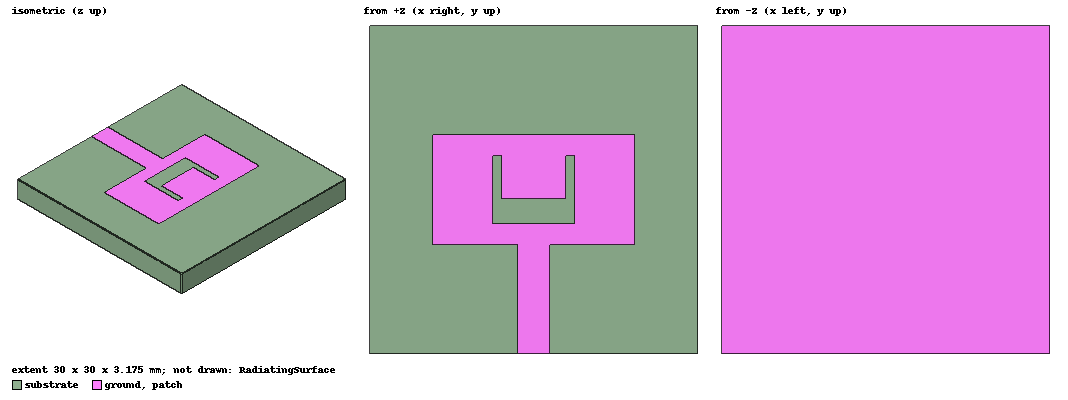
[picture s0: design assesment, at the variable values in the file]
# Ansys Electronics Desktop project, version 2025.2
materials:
  vacuum: permittivity=1
  Rogers RT/duroid 5870 (tm): permittivity=2.33 dielectric_loss_tangent=0.0012

design assesment (HFSS, HFSS Modal Network, model units mm)
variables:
  ws = 30mm
  ls = 30mm
  wp = 18.4mm
  lp = 10mm
  lf = 0.8mm
  wss = 7.45mm
  t = 0.8mm
  lss = 6.15mm
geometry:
  substrate [Rogers RT/duroid 5870 (tm)] = box(corner=(-ws/2, -ls/2, 0mm), size=(ws, ls, 3.175mm))
  patch = rectangle(corner=(-wp/2, -lp/2, 3.175mm), x_size=wp, y_size=lp)
  Rectangle1 = rectangle(corner=(-wss/2, -lf-2.275mm, 3.175mm), x_size=wss, y_size=2.275mm)
  Rectangle2 = rectangle(corner=(-wss/2, -lss/2, 3.175mm), x_size=t, y_size=lss)
  Rectangle3 = rectangle(corner=(wss/2-0.8mm, -lss/2, 3.175mm), x_size=t, y_size=lss)
  Rectangle1.unite(Rectangle2, Rectangle3)
  patch.subtract(Rectangle1)
  ground = rectangle(corner=(15mm, 15mm, 0mm), x_size=-30mm, y_size=-30mm)
  feedline = rectangle(corner=(-3mm/2, -0.8mm-2.275mm, 3.175mm), x_size=3mm, y_size=-9mm-2.925mm)
  patch.unite(feedline)
  excitation = rectangle(corner=(-1.5mm, -15mm, 3.175mm), z_size=-3.175mm, x_size=3mm)
  RadiatingSurface [vacuum] = region(absolute_offset=10mm on all sides)
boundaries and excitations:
  PerfE2: Perfect E Objects=patch
  PerfE3: Perfect E Objects=ground
  Open1: Radiation Objects=RadiatingSurface
  1: Lumped Port Objects=excitation LumpedPortType=Modal Modes{Mode1{IntLine{(0, -15, 0) -> (0mm, -15000mm, 3000mm)} CharImp=Zpi}} Impedance=50ohm
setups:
  Setup1: HfssDriven Frequency=8GHz MaxDeltaS=0.02 MaximumPasses=12 MinimumPasses=1 MinimumConvergedPasses=1 PercentRefinement=30 BasisOrder=1 PortAccuracy=2 DrivenSolverType="Direct Solver"
    sweep Sweep: 4GHz to 12GHz, 1001 points; Type=Interpolating InterpTolerance=0.5 InterpMaxSolns=250 InterpUsePortImped=false PassivityErrorTolerance=0.0001
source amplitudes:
  1:1: 1V 0deg
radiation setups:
  3D: Infinite Sphere Theta=0deg..180deg step 2deg Phi=-180deg..180deg step 2deg
  Elevation: Infinite Sphere Theta=-180deg..180deg step 1deg Phi=0deg..90deg step 90deg
  Azimuth: Infinite Sphere Theta=90deg..90deg step 0deg Phi=-180deg..180deg step 1deg
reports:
  S Parameter Plot1: dB(S(1,1)) vs Freq on Setup1 : Sweep
  VSWR Plot1: VSWR(1) vs Freq on Setup1 : Sweep
  Gain Plot1: dB(GainTotal) vs Theta on Setup1 : LastAdaptive, 3D [Phi=all Freq=8GHz]
